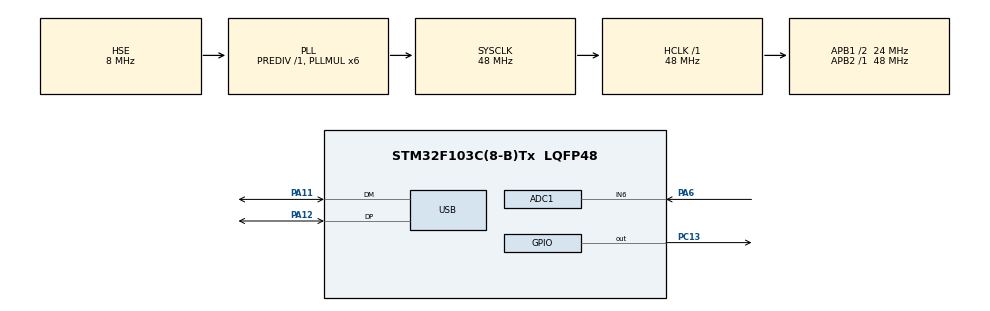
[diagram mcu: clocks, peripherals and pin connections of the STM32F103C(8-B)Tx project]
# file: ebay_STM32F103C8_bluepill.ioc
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ADC1.Channel-1\#ChannelRegularConversion=ADC_CHANNEL_6
ADC1.NbrOfConversionFlag=1
ADC1.Rank-1\#ChannelRegularConversion=1
ADC1.SamplingTime-1\#ChannelRegularConversion=ADC_SAMPLETIME_1CYCLE_5
ADC1.master=1
FREERTOS.Tasks01=defaultTask,0,128,StartDefaultTask,Default,NULL,Dynamic,NULL,NULL;OS_COM_Task,0,512,COM_Task,Default,NULL,Dynamic,NULL,NULL
FREERTOS.configTOTAL_HEAP_SIZE=6000
FREERTOS.configUSE_PREEMPTION=0
FREERTOS.configUSE_TRACE_FACILITY=1
Mcu.Family=STM32F1
Mcu.Name=STM32F103C(8-B)Tx
Mcu.Package=LQFP48
NVIC.PriorityGroup=NVIC_PRIORITYGROUP_4
NVIC.TIM2_IRQn=true\:0\:0\:false\:false\:true\:false\:false\:true
NVIC.TimeBase=TIM2_IRQn
NVIC.TimeBaseIP=TIM2
NVIC.USB_LP_CAN1_RX0_IRQn=true\:0\:0\:false\:false\:true\:false\:false\:true
PA11.Mode=Device
PA11.Signal=USB_DM
PA12.Mode=Device
PA12.Signal=USB_DP
PA13.Mode=Serial_Wire
PA13.Signal=SYS_JTMS-SWDIO
PA14.Mode=Serial_Wire
PA14.Signal=SYS_JTCK-SWCLK
PA6.Signal=ADCx_IN6
PC13-TAMPER-RTC.GPIO_PuPd=GPIO_PULLDOWN
PC13-TAMPER-RTC.Signal=GPIO_Output
PC14-OSC32_IN.Mode=LSE-External-Oscillator
PC14-OSC32_IN.Signal=RCC_OSC32_IN
PC15-OSC32_OUT.Mode=LSE-External-Oscillator
PC15-OSC32_OUT.Signal=RCC_OSC32_OUT
PD0-OSC_IN.Mode=HSE-External-Oscillator
PD0-OSC_IN.Signal=RCC_OSC_IN
PD1-OSC_OUT.Mode=HSE-External-Oscillator
PD1-OSC_OUT.Signal=RCC_OSC_OUT
ProjectManager.HeapSize=0x200
ProjectManager.StackSize=0x400
ProjectManager.TargetToolchain=STM32CubeIDE
RCC.ADCPresc=RCC_ADCPCLK2_DIV4
RCC.AHBFreq_Value=48000000
RCC.APB1CLKDivider=RCC_HCLK_DIV2
RCC.APB1Freq_Value=24000000
RCC.APB1TimFreq_Value=48000000
RCC.APB2Freq_Value=48000000
RCC.APB2TimFreq_Value=48000000
RCC.HCLKFreq_Value=48000000
RCC.PLLMUL=RCC_PLL_MUL6
RCC.PLLSourceVirtual=RCC_PLLSOURCE_HSE
RCC.SYSCLKFreq_VALUE=48000000
RCC.SYSCLKSource=RCC_SYSCLKSOURCE_PLLCLK
RCC.USBFreq_Value=48000000
SH.ADCx_IN6.0=ADC1_IN6,IN6
TIM1.Channel-Output\ Compare4\ No\ Output=TIM_CHANNEL_4
USB_DEVICE.CLASS_NAME_FS=CDC
USB_DEVICE.VirtualMode=Cdc
USB_DEVICE.VirtualModeFS=Cdc_FS
VP_FREERTOS_VS_CMSIS_V1.Mode=CMSIS_V1
VP_SYS_VS_tim2.Mode=TIM2
VP_TIM1_VS_no_output4.Mode=Output Compare4 No Output
VP_USB_DEVICE_VS_USB_DEVICE_CDC_FS.Mode=CDC_FS
board=custom

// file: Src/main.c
/* USER CODE BEGIN Header */
/**
  ******************************************************************************
  * @file           : main.c
  * @brief          : Main program body
  ******************************************************************************
  * @attention
  *
  * <h2><center>&copy; Copyright (c) 2019 STMicroelectronics.
  * All rights reserved.</center></h2>
  *
  * This software component is licensed by ST under BSD 3-Clause license,
  * the "License"; You may not use this file except in compliance with the
  * License. You may obtain a copy of the License at:
  *                        opensource.org/licenses/BSD-3-Clause
  *
  ******************************************************************************
  */
/* USER CODE END Header */

#include "main.h"
#include "cmsis_os.h"
#include "adc.h"
#include "tim.h"
#include "usb_device.h"
#include "gpio.h"

void SystemClock_Config(void);
void MX_FREERTOS_Init(void);

int main(void)
{

  /* MCU Configuration--------------------------------------------------------*/

  /* Reset of all peripherals, Initializes the Flash interface and the Systick. */
  HAL_Init();

  /* Configure the system clock */
  SystemClock_Config();

  /* Initialize all configured peripherals */
  MX_GPIO_Init();
  MX_ADC1_Init();
  MX_TIM1_Init();

  /* Call init function for freertos objects (in freertos.c) */
  MX_FREERTOS_Init();

  /* Start scheduler */
  osKernelStart();

  /* We should never get here as control is now taken by the scheduler */

  /* Infinite loop */
  while (1)
  {

    /* USER CODE BEGIN 3 */
	  //HAL_GPIO_TogglePin(GPIOC, GPIO_PIN_13);
  }
  /* USER CODE END 3 */
}

void SystemClock_Config(void)
{
  RCC_OscInitTypeDef RCC_OscInitStruct = {0};
  RCC_ClkInitTypeDef RCC_ClkInitStruct = {0};
  RCC_PeriphCLKInitTypeDef PeriphClkInit = {0};

  /** Initializes the CPU, AHB and APB busses clocks
  */
  RCC_OscInitStruct.OscillatorType = RCC_OSCILLATORTYPE_HSE;
  RCC_OscInitStruct.HSEState = RCC_HSE_ON;
  RCC_OscInitStruct.HSEPredivValue = RCC_HSE_PREDIV_DIV1;
  RCC_OscInitStruct.HSIState = RCC_HSI_ON;
  RCC_OscInitStruct.PLL.PLLState = RCC_PLL_ON;
  RCC_OscInitStruct.PLL.PLLSource = RCC_PLLSOURCE_HSE;
  RCC_OscInitStruct.PLL.PLLMUL = RCC_PLL_MUL6;
  if (HAL_RCC_OscConfig(&RCC_OscInitStruct) != HAL_OK)
  {
    Error_Handler();
  }
  /** Initializes the CPU, AHB and APB busses clocks
  */
  RCC_ClkInitStruct.ClockType = RCC_CLOCKTYPE_HCLK|RCC_CLOCKTYPE_SYSCLK
                              |RCC_CLOCKTYPE_PCLK1|RCC_CLOCKTYPE_PCLK2;
  RCC_ClkInitStruct.SYSCLKSource = RCC_SYSCLKSOURCE_PLLCLK;
  RCC_ClkInitStruct.AHBCLKDivider = RCC_SYSCLK_DIV1;
  RCC_ClkInitStruct.APB1CLKDivider = RCC_HCLK_DIV2;
  RCC_ClkInitStruct.APB2CLKDivider = RCC_HCLK_DIV1;

  if (HAL_RCC_ClockConfig(&RCC_ClkInitStruct, FLASH_LATENCY_1) != HAL_OK)
  {
    Error_Handler();
  }
  PeriphClkInit.PeriphClockSelection = RCC_PERIPHCLK_ADC|RCC_PERIPHCLK_USB;
  PeriphClkInit.AdcClockSelection = RCC_ADCPCLK2_DIV4;
  PeriphClkInit.UsbClockSelection = RCC_USBCLKSOURCE_PLL;
  if (HAL_RCCEx_PeriphCLKConfig(&PeriphClkInit) != HAL_OK)
  {
    Error_Handler();
  }
}

void HAL_TIM_PeriodElapsedCallback(TIM_HandleTypeDef *htim)
{
  if (htim->Instance == TIM2) {
    HAL_IncTick();
  }
}

void Error_Handler(void)
{
}

/************************ (C) COPYRIGHT STMicroelectronics *****END OF FILE****/

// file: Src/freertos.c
/* USER CODE BEGIN Header */
/**
  ******************************************************************************
  * File Name          : freertos.c
  * Description        : Code for freertos applications
  ******************************************************************************
  * @attention
  *
  * <h2><center>&copy; Copyright (c) 2019 STMicroelectronics.
  * All rights reserved.</center></h2>
  *
  * This software component is licensed by ST under Ultimate Liberty license
  * SLA0044, the "License"; You may not use this file except in compliance with
  * the License. You may obtain a copy of the License at:
  *                             www.st.com/SLA0044
  *
  ******************************************************************************
  */
/* USER CODE END Header */

#include "FreeRTOS.h"
#include "task.h"
#include "main.h"
#include "cmsis_os.h"

/* USER CODE BEGIN Includes */
#include "adc.h"
#include "stm32f1xx_hal_adc.h"
#include "usbd_cdc_if.h"
//#include "stm32f1xx_II_usb.h"
/* USER CODE END Includes */

osThreadId defaultTaskHandle;
osThreadId OS_COM_TaskHandle;

void StartDefaultTask(void const * argument);
void COM_Task(void const * argument);

extern void MX_USB_DEVICE_Init(void);
void MX_FREERTOS_Init(void); /* (MISRA C 2004 rule 8.1) */

/* GetIdleTaskMemory prototype (linked to static allocation support) */
void vApplicationGetIdleTaskMemory( StaticTask_t **ppxIdleTaskTCBBuffer, StackType_t **ppxIdleTaskStackBuffer, uint32_t *pulIdleTaskStackSize );

/* USER CODE BEGIN GET_IDLE_TASK_MEMORY */
static StaticTask_t xIdleTaskTCBBuffer;
static StackType_t xIdleStack[configMINIMAL_STACK_SIZE];

void vApplicationGetIdleTaskMemory( StaticTask_t **ppxIdleTaskTCBBuffer, StackType_t **ppxIdleTaskStackBuffer, uint32_t *pulIdleTaskStackSize )
{
  *ppxIdleTaskTCBBuffer = &xIdleTaskTCBBuffer;
  *ppxIdleTaskStackBuffer = &xIdleStack[0];
  *pulIdleTaskStackSize = configMINIMAL_STACK_SIZE;
  /* place for user code */
}
/* USER CODE END GET_IDLE_TASK_MEMORY */

void MX_FREERTOS_Init(void) {

  /* Create the thread(s) */
  /* definition and creation of defaultTask */
  osThreadDef(defaultTask, StartDefaultTask, osPriorityNormal, 0, 128);
  defaultTaskHandle = osThreadCreate(osThread(defaultTask), NULL);

  /* definition and creation of OS_COM_Task */
  osThreadDef(OS_COM_Task, COM_Task, osPriorityNormal, 0, 512);
  OS_COM_TaskHandle = osThreadCreate(osThread(OS_COM_Task), NULL);

}

void StartDefaultTask(void const * argument)
{
  /* init code for USB_DEVICE */
  MX_USB_DEVICE_Init();
  for(;;)
  {
    osDelay(1);
  }
}

void COM_Task(void const * argument)
{
  /* USER CODE BEGIN COM_Task */

	static uint32_t adcVal = 0u;
	static uint8_t dataReceived[4] = {0};
	static volatile uint32_t period = 1000u;

  /* Infinite loop */
  for(;;)
  {

		(void)HAL_ADC_Start(&hadc1);
		uint32_t temp = 0u;
		uint8_t adcValString[5] = {0};

		if (!HAL_ADC_PollForConversion(&hadc1, 10u))
		{
			adcVal = HAL_ADC_GetValue(&hadc1);
		}

		adcValString[0] = 48u + (adcVal / 1000u);  // thousands
		temp = adcVal % 1000u;
		adcValString[1] = 48u + (temp / 100u);  // hundreds
		temp = temp % 100u;
		adcValString[2] = 48u + (temp / 10u);  // tens
		temp = temp % 10u;
		adcValString[3] = 48u + temp; // units
		adcValString[4] = '*';

	  volatile uint8_t status = CDC_Transmit_FS(adcValString, 5);

//	  if(!status)
//	  {
//
//	  HAL_GPIO_WritePin(GPIOC, GPIO_PIN_13, GPIO_PIN_RESET);
//	  HAL_Delay(10);
//	  HAL_GPIO_WritePin(GPIOC, GPIO_PIN_13, GPIO_PIN_SET);
//	  HAL_Delay(1000);
//	  //HAL_GPIO_TogglePin(GPIOE, GPIO_PIN_0);
//	  //HAL_Delay(500);
//	  }
    osDelay(10);
  }
  /* USER CODE END COM_Task */
}

/************************ (C) COPYRIGHT STMicroelectronics *****END OF FILE****/
